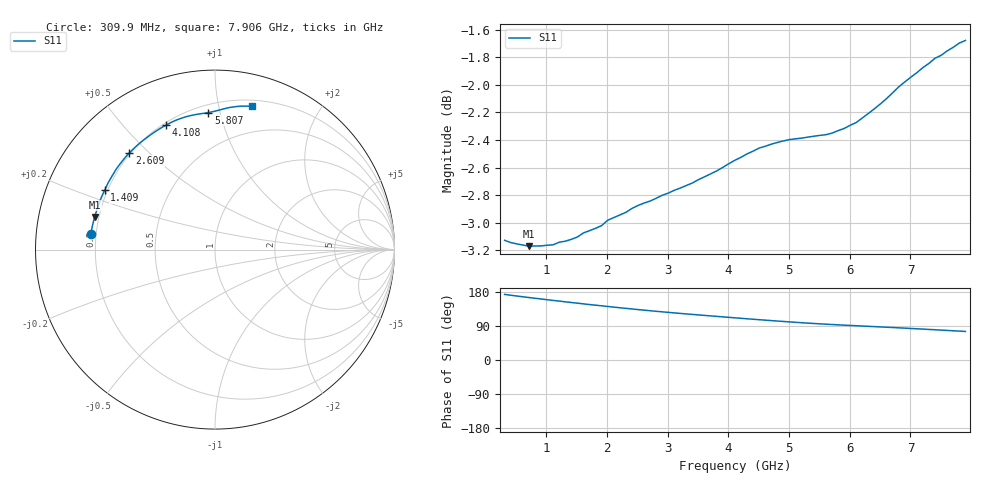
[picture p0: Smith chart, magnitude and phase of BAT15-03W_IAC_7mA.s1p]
! Infineon Technologies  Discrete & RF Semiconductors
! BAT15-03W-E6327
! IAC = 7 mA
! One-Port S-Parameters
# Hz  S  MA  R  50
!f  S11
!Hz  Mag  Ang
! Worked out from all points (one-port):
!   77 points, 309.9 MHz to 7.906 GHz, reference 50 ohm
!   lowest |S11| = -3.2 dB at 709.6 MHz (marker M1), VSWR 5.54, Z = 9.18 + j6.42 ohm
!   |S11| at or under -10 dB: nowhere
!   S11 on the Smith chart (normalised r, x): 309.9 MHz: 0.18, +0.06; 1.409 GHz: 0.19, +0.24; 2.609 GHz: 0.19, +0.44; 4.108 GHz: 0.21, +0.66; 5.807 GHz: 0.25, +0.92; 7.906 GHz: 0.25, +1.26
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3.0985e8  0.6977 173.0
5.0975e8  0.6956 168.9
7.0965e8  0.6943 164.9
1.0095e9  0.6948 159.1
1.30935e9  0.6972 153.5
1.4093e9  0.6983 151.7
1.6092e9  0.702 148.2
1.70915e9  0.7033 146.3
2.009e9  0.7095 141.2
2.2089e9  0.7126 137.9
2.4088e9  0.7165 134.7
2.6087e9  0.7197 131.5
2.90855e9  0.7244 127.1
3.2084e9  0.7288 122.9
3.6082e9  0.7357 117.6
4.10795e9  0.7459 111.3
4.50775e9  0.7535 106.3
4.8076e9  0.7571 102.8
5.10745e9  0.7594 99.5
5.4073e9  0.761 96.4
5.8071e9  0.7645 92.8
6.007e9  0.768 91.2
6.50675e9  0.7818 87.3
6.8066e9  0.793 84.9
7.0065e9  0.7994 83.2
7.4063e9  0.8122 79.8
7.8061e9  0.8225 76.3
7.90605e9  0.8243 75.3
